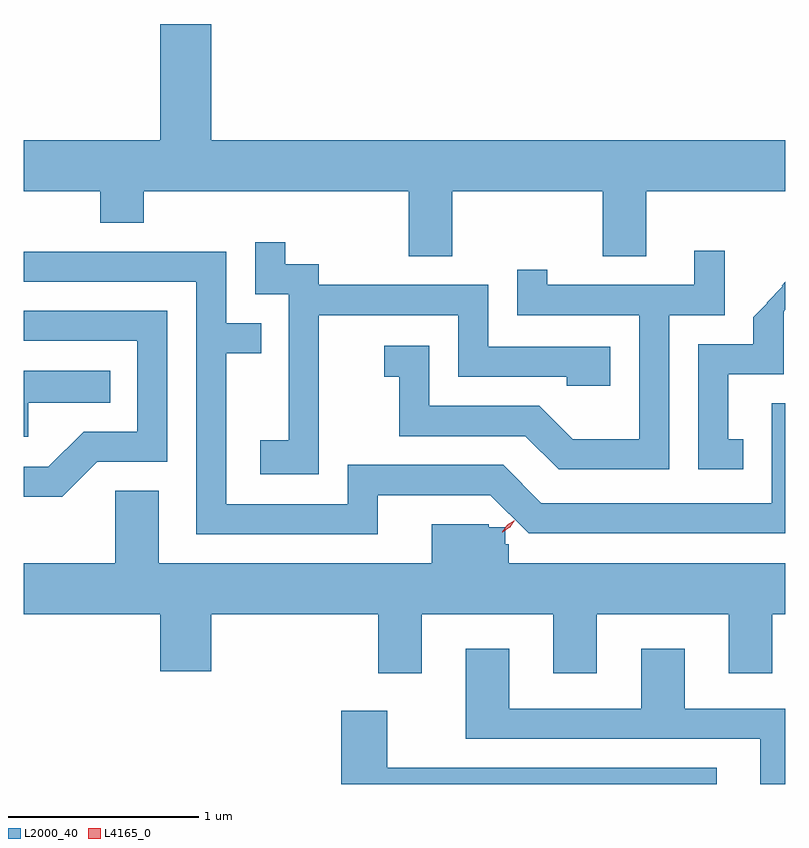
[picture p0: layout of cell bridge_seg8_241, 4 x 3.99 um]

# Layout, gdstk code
import gdstk
lib = gdstk.Library(unit=1e-6, precision=1e-09)
def P(c, l, *ps):  # polygons
    for p in ps: c.add(gdstk.Polygon(p, *l))
L2000_40 = (2000, 40)
L4165_0 = (4165, 0)

bridge_seg8_241 = lib.new_cell('bridge_seg8_241')
P(bridge_seg8_241, L2000_40, [(1115.709,1834.196),(1116.501,1834.196),(1116.501,1833.856),(1116.729,1833.856),(1116.729,1834.196),(1117.459,1834.196),(1117.459,1834.464),(1114.444,1834.464),(1114.444,1835.074),(1114.176,1835.074),(1114.176,1834.464),(1113.459,1834.464),(1113.459,1834.196),(1113.861,1834.196),(1113.861,1834.031),(1114.089,1834.031),(1114.089,1834.196),(1115.481,1834.196),(1115.481,1833.856),(1115.709,1833.856)],
  [(1115.009,1833.546),(1115.741,1833.546),(1115.741,1833.221),(1116.311,1833.221),(1116.311,1833.176),(1116.539,1833.176),(1116.539,1833.379),(1115.899,1833.379),(1115.899,1833.704),(1115.009,1833.704),(1115.009,1833.814),(1114.834,1833.814),(1114.834,1833.928),(1114.676,1833.928),(1114.676,1833.656),(1114.851,1833.656),(1114.851,1832.889),(1114.701,1832.889),(1114.701,1832.711),(1115.009,1832.711)],
  [(1116.849,1833.546),(1117.139,1833.546),(1117.139,1833.883),(1116.981,1833.883),(1116.981,1833.704),(1116.209,1833.704),(1116.209,1833.783),(1116.051,1833.783),(1116.051,1833.546),(1116.691,1833.546),(1116.691,1832.894),(1116.342,1832.894),(1116.167,1833.069),(1115.589,1833.069),(1115.589,1833.384),(1115.353,1833.384),(1115.353,1833.221),(1115.431,1833.221),(1115.431,1832.911),(1116.094,1832.911),(1116.269,1832.736),(1116.849,1832.736)],
  [(1115.319,1832.601),(1115.91,1832.601),(1116.11,1832.401),(1117.459,1832.401),(1117.459,1833.084),(1117.386,1833.084),(1117.386,1832.559),(1116.177,1832.559),(1115.977,1832.759),(1115.161,1832.759),(1115.161,1832.554),(1114.524,1832.554),(1114.524,1833.346),(1114.708,1833.346),(1114.708,1833.504),(1114.524,1833.504),(1114.524,1833.879),(1113.459,1833.879),(1113.459,1833.721),(1114.366,1833.721),(1114.366,1832.396),(1115.319,1832.396)],
  [(1117.238,1832.894),(1117.159,1832.894),(1117.159,1833.236),(1117.449,1833.236),(1117.449,1833.563),(1117.459,1833.573),(1117.459,1833.72),(1117.44,1833.701),(1117.444,1833.696),(1117.36,1833.611),(1117.364,1833.607),(1117.291,1833.534),(1117.291,1833.394),(1117.001,1833.394),(1117.001,1832.736),(1117.238,1832.736)],
  [(1113.847,1832.776),(1114.214,1832.776),(1114.214,1833.569),(1113.459,1833.569),(1113.459,1833.411),(1114.056,1833.411),(1114.056,1832.934),(1113.774,1832.934),(1113.589,1832.749),(1113.459,1832.749),(1113.459,1832.591),(1113.662,1832.591)],
  [(1113.484,1833.086),(1113.913,1833.086),(1113.913,1833.254),(1113.459,1833.254),(1113.459,1832.906),(1113.484,1832.906)],
  [(1115.549,1831.976),(1116.241,1831.976),(1116.241,1831.666),(1116.469,1831.666),(1116.469,1831.976),(1117.161,1831.976),(1117.161,1831.666),(1117.389,1831.666),(1117.389,1831.976),(1117.459,1831.976),(1117.459,1832.244),(1116.005,1832.244),(1116.005,1832.343),(1115.989,1832.343),(1115.989,1832.433),(1115.901,1832.433),(1115.901,1832.448),(1115.601,1832.448),(1115.601,1832.244),(1114.169,1832.244),(1114.169,1832.624),(1113.941,1832.624),(1113.941,1832.244),(1113.459,1832.244),(1113.459,1831.976),(1114.176,1831.976),(1114.176,1831.676),(1114.444,1831.676),(1114.444,1831.976),(1115.321,1831.976),(1115.321,1831.666),(1115.549,1831.666)],
  [(1117.459,1831.479),(1116.929,1831.479),(1116.929,1831.794),(1116.701,1831.794),(1116.701,1831.479),(1116.009,1831.479),(1116.009,1831.794),(1115.781,1831.794),(1115.781,1831.321),(1117.326,1831.321),(1117.326,1831.084),(1117.459,1831.084)],
  [(1117.098,1831.169),(1115.369,1831.169),(1115.369,1831.469),(1115.126,1831.469),(1115.126,1831.084),(1117.098,1831.084)])
P(bridge_seg8_241, L4165_0, [(1115.973,1832.407),(1115.973,1832.408),(1115.998,1832.445),(1116.037,1832.469),(1116.038,1832.469),(1116.038,1832.468),(1116.012,1832.431),(1115.974,1832.407)],
  [(1115.977,1832.411),(1115.977,1832.411),(1116,1832.446),(1116.035,1832.467),(1116.036,1832.467),(1116.036,1832.466),(1116.014,1832.432),(1115.978,1832.411)])

lib.write_gds('bridge_seg8_241.gds')
